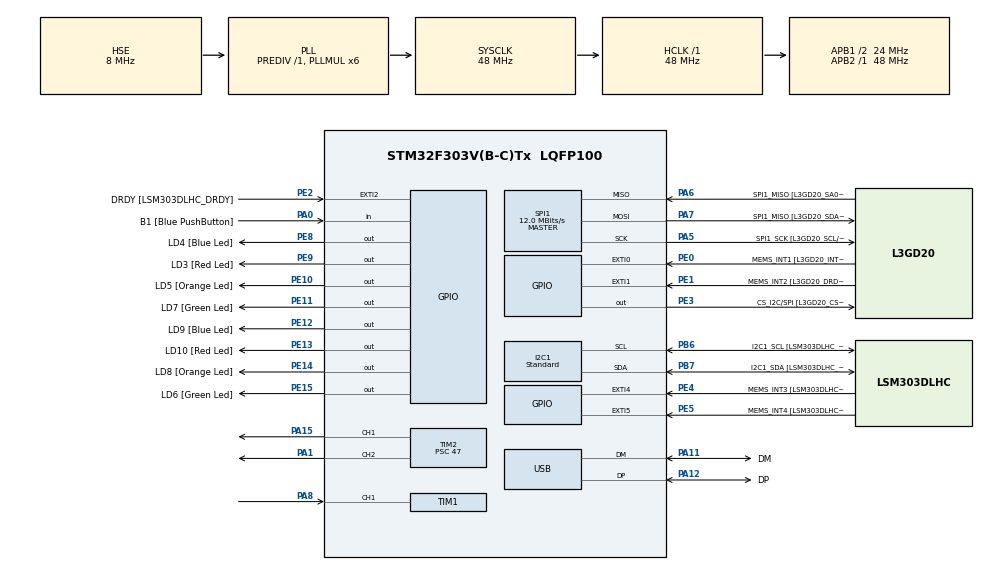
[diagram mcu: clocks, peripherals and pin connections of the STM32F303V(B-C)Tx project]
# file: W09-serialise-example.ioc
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I2C1.I2C_Speed_Mode=I2C_Standard
I2C1.Speed=100
I2C1.Timing-I2C=0x2000090E
Mcu.Family=STM32F3
Mcu.Name=STM32F303V(B-C)Tx
Mcu.Package=LQFP100
NVIC.PriorityGroup=NVIC_PRIORITYGROUP_0
NVIC.TIM1_CC_IRQn=true\:0\:0\:false\:false\:true\:true\:true\:true
NVIC.TIM2_IRQn=true\:0\:0\:false\:false\:true\:true\:true\:true
PA0.GPIO_Label=B1 [Blue PushButton]
PA0.Signal=GPIO_Input
PA1.Signal=S_TIM2_CH2
PA11.GPIO_Label=DM
PA11.Mode=Device
PA11.Signal=USB_DM
PA12.GPIO_Label=DP
PA12.Mode=Device
PA12.Signal=USB_DP
PA13.GPIO_Label=SWDIO
PA13.Mode=Serial_Wire
PA13.Signal=SYS_JTMS-SWDIO
PA14.GPIO_Label=SWCLK
PA14.Mode=Serial_Wire
PA14.Signal=SYS_JTCK-SWCLK
PA15.Signal=S_TIM2_CH1_ETR
PA5.GPIO_Label=SPI1_SCK [L3GD20_SCL/SPC]
PA5.Mode=Full_Duplex_Master
PA5.Signal=SPI1_SCK
PA6.GPIO_Label=SPI1_MISO [L3GD20_SA0/SDO]
PA6.Mode=Full_Duplex_Master
PA6.Signal=SPI1_MISO
PA7.GPIO_Label=SPI1_MISO [L3GD20_SDA/SDI/SDO]
PA7.Mode=Full_Duplex_Master
PA7.Signal=SPI1_MOSI
PA8.Signal=S_TIM1_CH1
PB3.GPIO_Label=SWO
PB3.Signal=SYS_JTDO-TRACESWO
PB6.GPIO_Label=I2C1_SCL [LSM303DLHC_SCL]
PB6.GPIO_Pu=GPIO_PULLUP
PB6.Mode=I2C
PB6.Signal=I2C1_SCL
PB7.GPIO_Label=I2C1_SDA [LSM303DLHC_SDA]
PB7.GPIO_Pu=GPIO_PULLUP
PB7.Mode=I2C
PB7.Signal=I2C1_SDA
PC14-OSC32_IN.GPIO_Label=OSC32_IN
PC14-OSC32_IN.Signal=RCC_OSC32_IN
PC15-OSC32_OUT.GPIO_Label=OSC32_OUT
PC15-OSC32_OUT.Signal=RCC_OSC32_OUT
PE0.GPIO_Label=MEMS_INT1 [L3GD20_INT1]
PE0.GPIO_ModeDefaultEXTI=GPIO_MODE_EVT_RISING
PE0.Signal=GPXTI0
PE1.GPIO_Label=MEMS_INT2 [L3GD20_DRDY/INT2]
PE1.GPIO_ModeDefaultEXTI=GPIO_MODE_EVT_RISING
PE1.Signal=GPXTI1
PE10.GPIO_Label=LD5 [Orange Led]
PE10.Signal=GPIO_Output
PE11.GPIO_Label=LD7 [Green Led]
PE11.Signal=GPIO_Output
PE12.GPIO_Label=LD9 [Blue Led]
PE12.Signal=GPIO_Output
PE13.GPIO_Label=LD10 [Red Led]
PE13.Signal=GPIO_Output
PE14.GPIO_Label=LD8 [Orange Led]
PE14.Signal=GPIO_Output
PE15.GPIO_Label=LD6 [Green Led]
PE15.Signal=GPIO_Output
PE2.GPIO_Label=DRDY [LSM303DLHC_DRDY]
PE2.GPIO_ModeDefaultEXTI=GPIO_MODE_EVT_RISING
PE2.Signal=GPXTI2
PE3.GPIO_Label=CS_I2C/SPI [L3GD20_CS_I2C/SPI]
PE3.Signal=GPIO_Output
PE4.GPIO_Label=MEMS_INT3 [LSM303DLHC_INT1]
PE4.GPIO_ModeDefaultEXTI=GPIO_MODE_EVT_RISING
PE4.Signal=GPXTI4
PE5.GPIO_Label=MEMS_INT4 [LSM303DLHC_INT2]
PE5.GPIO_ModeDefaultEXTI=GPIO_MODE_EVT_RISING
PE5.Signal=GPXTI5
PE8.GPIO_Label=LD4 [Blue Led]
PE8.Signal=GPIO_Output
PE9.GPIO_Label=LD3 [Red Led]
PE9.Signal=GPIO_Output
PF0-OSC_IN.GPIO_Label=OSC_IN
PF0-OSC_IN.Mode=HSE-External-Clock-Source
PF0-OSC_IN.Signal=RCC_OSC_IN
PF1-OSC_OUT.GPIO_Label=OSC_OUT
PF1-OSC_OUT.Signal=RCC_OSC_OUT
ProjectManager.HeapSize=0x200
ProjectManager.StackSize=0x400
ProjectManager.TargetToolchain=STM32CubeIDE
RCC.AHBFreq_Value=48000000
RCC.APB1CLKDivider=RCC_HCLK_DIV2
RCC.APB1Freq_Value=24000000
RCC.APB1TimFreq_Value=48000000
RCC.APB2Freq_Value=48000000
RCC.APB2TimFreq_Value=48000000
RCC.CortexFreq_Value=48000000
RCC.HCLKFreq_Value=48000000
RCC.HSE_VALUE=8000000
RCC.HSI_VALUE=8000000
RCC.LSE_VALUE=32768
RCC.PLLMUL=RCC_PLL_MUL6
RCC.SYSCLKFreq_VALUE=48000000
RCC.SYSCLKSourceVirtual=RCC_SYSCLKSOURCE_PLLCLK
RCC.USBFreq_Value=48000000
SH.S_TIM1_CH1.0=TIM1_CH1,Input_Capture1_from_TI1
SH.S_TIM2_CH1_ETR.0=TIM2_CH1,PWM Generation1 CH1
SH.S_TIM2_CH2.0=TIM2_CH2,PWM Generation2 CH2
SPI1.BaudRatePrescaler=SPI_BAUDRATEPRESCALER_4
SPI1.BaudRatePrescaler-Full_Duplex_Master=SPI_BAUDRATEPRESCALER_2
SPI1.CalculateBaudRate=12.0 MBits/s
SPI1.CalculateBaudRate-Full_Duplex_Master=24.0 MBits/s
SPI1.Direction=SPI_DIRECTION_2LINES
SPI1.Mode=SPI_MODE_MASTER
SPI1.Mode-Full_Duplex_Master=SPI_MODE_MASTER
SPI1.VirtualType=VM_MASTER
TIM1.Channel-Input_Capture1_from_TI1=TIM_CHANNEL_1
TIM1.ICPolarity_CH1=TIM_INPUTCHANNELPOLARITY_BOTHEDGE
TIM1.Prescaler=47
TIM2.AutoReloadPreload=TIM_AUTORELOAD_PRELOAD_ENABLE
TIM2.Channel-PWM\ Generation1\ CH1=TIM_CHANNEL_1
TIM2.Channel-PWM\ Generation2\ CH2=TIM_CHANNEL_2
TIM2.Period=20000
TIM2.Prescaler=47
TIM2.Pulse-PWM\ Generation1\ CH1=2000
TIM2.Pulse-PWM\ Generation2\ CH2=2000
VP_TIM1_VS_ClockSourceINT.Mode=Internal
board=STM32F3DISCOVERY

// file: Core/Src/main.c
/* USER CODE BEGIN Header */
/**
 ******************************************************************************
 * @file           : main.c
 * @brief          : Main program body
 ******************************************************************************
 * @attention
 *
 * Copyright (c) 2023 STMicroelectronics.
 * All rights reserved.
 *
 * This software is licensed under terms that can be found in the LICENSE file
 * in the root directory of this software component.
 * If no LICENSE file comes with this software, it is provided AS-IS.
 *
 ******************************************************************************
 */
/* USER CODE END Header */
#include "main.h"

/* USER CODE BEGIN Includes */

#include "ptu_definitions.h"
#include "ptu_i2c.h"
#include "serial.h"
#include "serialise.h"

#include "math.h"

/* USER CODE END Includes */

I2C_HandleTypeDef hi2c1;

SPI_HandleTypeDef hspi1;

TIM_HandleTypeDef htim1;
TIM_HandleTypeDef htim2;

PCD_HandleTypeDef hpcd_USB_FS;

void SystemClock_Config(void);
static void MX_GPIO_Init(void);
static void MX_I2C1_Init(void);
static void MX_SPI1_Init(void);
static void MX_USB_PCD_Init(void);
static void MX_TIM2_Init(void);
static void MX_TIM1_Init(void);

/* USER CODE BEGIN 0 */

// enable the clocks for desired peripherals (GPIOA, C and E)
void enable_clocks() {
	RCC->AHBENR |= RCC_AHBENR_GPIOAEN | RCC_AHBENR_GPIOCEN | RCC_AHBENR_GPIOEEN;
}

// initialise the discovery board I/O (just outputs: inputs are selected by default)
void initialise_board() {
	// get a pointer to the second half word of the MODER register (for outputs pe8-15)
	uint16_t *led_output_registers = ((uint16_t *)&(GPIOE->MODER)) + 1;
	*led_output_registers = 0x5555;
}

typedef union {
	uint8_t all_leds;
	struct {
		uint8_t led_pair_1 : 2;
		uint8_t led_pair_2 : 2;
		uint8_t led_set_of_4 : 4;
	} led_groups;
} LedRegister;

uint16_t last_capture = 0;
uint16_t diff = 0;

uint16_t rise_time = 0;
uint16_t last_period = 0;

void HAL_TIM_IC_CaptureCallback(TIM_HandleTypeDef *htim)
{
	uint8_t buffer[32];
	if (htim->Instance == TIM1 && htim->Channel == HAL_TIM_ACTIVE_CHANNEL_1)
	{
		uint16_t IC_Val1 = HAL_TIM_ReadCapturedValue(htim, TIM_CHANNEL_1); // read the first value

		if (HAL_GPIO_ReadPin(GPIOA, GPIO_PIN_8) == 1)
			rise_time = IC_Val1;
		else
			last_period = IC_Val1 - rise_time;

		diff = IC_Val1 - last_capture;
		last_capture = IC_Val1;
	}
}

typedef struct {
	uint8_t var1;
	uint32_t var2;
	uint8_t var3;
	uint32_t var4;
	uint8_t var5;
	uint8_t var6;
} struct_1;

typedef struct {
	uint32_t var2;
	uint32_t var4;
	uint8_t var1;
	uint8_t var3;
	uint8_t var5;
	uint8_t var6;
} struct_2;

/* USER CODE END 0 */

int main(void)
{
	/* USER CODE BEGIN 1 */

	// PTU Pin wiring
	//  2 x grounds between stm32 and PTU
	//  PA1 and PA15 are TIM2 channels 1 and 2. These are used to drive
	//    the PWM for the PTU
	//  PA8 is TIM1 channel 1, this is used for the LASPWM (the laser PWM signal)
	//  PB6 is I2C1 clock (SCL on the PTU), PB7 is I2C1 data (SDA on the PTU)

	// look at the size difference between these structs,
	//  they are because the 32 bit microcontroller
	//  packs the data so the divisions are in groups
	//  of 4bytes (4bytes=32bit)
	uint8_t size_1 = sizeof(struct_1);
	uint8_t size_2 = sizeof(struct_2);

	uint8_t string_to_send[64] = "This is a string !\r\n";

	enable_clocks();
	initialise_board();

	LedRegister *led_register = ((uint8_t*)&(GPIOE->ODR)) + 1;

	SerialInitialise(BAUD_115200, &USART1_PORT, 0x00);

	HAL_StatusTypeDef return_value = 0x00;

	volatile uint16_t vertical_PWM = 1000;
	volatile uint16_t horizontal_PWM = 1000;

	/* USER CODE END 1 */

	/* MCU Configuration--------------------------------------------------------*/

	/* Reset of all peripherals, Initializes the Flash interface and the Systick. */
	HAL_Init();

	/* Configure the system clock */
	SystemClock_Config();

	/* Initialize all configured peripherals */
	MX_GPIO_Init();
	MX_I2C1_Init();
	MX_SPI1_Init();
	MX_USB_PCD_Init();
	MX_TIM2_Init();
	MX_TIM1_Init();
	/* USER CODE BEGIN 2 */

	HAL_TIM_PWM_Start(&htim2, TIM_CHANNEL_1);
	HAL_TIM_PWM_Start(&htim2, TIM_CHANNEL_2);

	HAL_TIM_IC_Start_IT(&htim1, TIM_CHANNEL_1);

	// TIM 2 is setup with a prescaler that makes 1 count = 1 microsecond
	// Even with HAL, you can still set the values yourself
	TIM2->ARR = 20000; // 20000 = 20ms, which is the desired clock period for servos
	TIM2->CR1 |= TIM_CR1_ARPE; // this makes the timing not change until the next pulse is finished

	// note: for PWM if you continually change the clock period
	// you can get unexpected results. To remove this, set ARPE so that the
	// ARR settings are not activated until the next cycle.

	initialise_ptu_i2c(&hi2c1);

	/* USER CODE END 2 */

	/* Infinite loop */
	/* USER CODE BEGIN WHILE */

	// reset lidar board
	uint8_t reset_value = 0x00;
	return_value = HAL_I2C_Mem_Write(&hi2c1, LIDAR_WR, 0x00, 1, &reset_value, 1, 10);

	uint8_t PWM_direction_clockwise = 1;

	// delay for initialisation of the lidar
	HAL_Delay(100);

	while (1)
	{

		if (PWM_direction_clockwise == 1) {
			vertical_PWM += 3;
			horizontal_PWM += 3;
		}
		else {
			vertical_PWM -= 3;
			horizontal_PWM -= 3;
		}

		if (vertical_PWM > 1900) {
			vertical_PWM = 1900;
			PWM_direction_clockwise = 0;
		}
		if (vertical_PWM < 1200) {
			vertical_PWM = 1200;
			PWM_direction_clockwise = 1;
		}

		TIM2->CCR1 = vertical_PWM;
		TIM2->CCR2 = horizontal_PWM;

		uint8_t xMSB = 0x00;
		HAL_I2C_Mem_Read(&hi2c1,gyro_rd, 0x29, 1, &xMSB, 1, 10);
		uint8_t xLSB = 0x00;
		HAL_I2C_Mem_Read(&hi2c1,gyro_rd, 0x28, 1, &xLSB, 1, 10);
		int16_t yaw_rate = ((xMSB << 8) | xLSB);

		uint8_t yMSB = 0x00;
		HAL_I2C_Mem_Read(&hi2c1,gyro_rd, 0x2B, 1, &yMSB, 1, 10);
		uint8_t yLSB = 0x00;
		HAL_I2C_Mem_Read(&hi2c1,gyro_rd, 0x2A, 1, &yLSB, 1, 10);
		int16_t pitch_rate = ((yMSB << 8) | yLSB);

		uint8_t zMSB = 0x00;
		HAL_I2C_Mem_Read(&hi2c1,gyro_rd, 0x2D, 1, &zMSB, 1, 10);
		uint8_t zLSB = 0x00;
		HAL_I2C_Mem_Read(&hi2c1,gyro_rd, 0x2C, 1, &zLSB, 1, 10);
		int16_t roll_rate = ((zMSB << 8) | zLSB);

		// This is turned off as the LED state is set from the serial input
		/*
		if (pitch_rate < 0)
			led_register->led_groups.led_pair_1 = 0b01;
		else
			led_register->led_groups.led_pair_1 = 0b10;

		if (yaw_rate < 0)
			led_register->led_groups.led_pair_2 = 1;
		else
			led_register->led_groups.led_pair_2 = 2;
		 */

		uint8_t lidar_value = 0x03;
		return_value = HAL_I2C_Mem_Write(&hi2c1, LIDAR_WR, 0x00, 1, &lidar_value, 1, 100);

		lidar_value = 0xff;

		uint8_t lidar_MSBa = 0x00;
		uint8_t lidar_LSBa = 0x00;

		volatile uint16_t lidar_distance = 0xff;

		uint16_t timeout;

		while ((lidar_value & 0x01) != 0x00) {
			return_value = HAL_I2C_Mem_Read(&hi2c1, LIDAR_RD, 0x01, 1, &lidar_value, 1, 100);

			return_value = HAL_I2C_Mem_Read(&hi2c1, LIDAR_RD, 0x0f, 1, &lidar_MSBa, 1, 100);
			return_value = HAL_I2C_Mem_Read(&hi2c1, LIDAR_RD, 0x10, 1, &lidar_LSBa, 1, 100);

			lidar_distance = ((lidar_MSBa << 8) | lidar_LSBa);
			timeout += 1;
			if (timeout > 0xff)
				break;
		}

		uint8_t lidar_ranges = lidar_distance / (100/4); // 100cm broken into 4 groups
		if (lidar_ranges > 3)
			lidar_ranges = 3;

		// This is turned off as the LED state is set from the serial input
		/*
		uint8_t led_values = pow(2, lidar_ranges);

		//led_register->led_groups.led_set_of_4 = led_values;
		*/

		if (last_period > 4000)
			last_period = 5000;
		if (lidar_distance > 4000)
			lidar_distance = 5500;

		// Serial string turned off as the data is being sent now through the serialiser
		//sprintf(string_to_send, "%hu,%hu,%hd,%hd,%hd\r\n", last_period, lidar_distance*10, roll_rate, pitch_rate, yaw_rate);
		//SerialOutputString(string_to_send, &USART1_PORT);

		// Construct a button data packet and send over serial
		Data button_data;
		uint8_t button_data_packet_buffer[6 + sizeof(ButtonAndStatus)] = {0}; // Header + SensorData
		button_data.button_and_status.button_state = GPIOA->IDR & 0x01;

		uint16_t button_data_buffer_length = pack_buffer(button_data_packet_buffer, BUTTON_AND_STATUS, &button_data);
		SerialOutputBuffer(button_data_packet_buffer, button_data_buffer_length, &USART1_PORT); // Send the buffer over serial

		// Construct a sensor data packet and send over serial
		Data sensor_data;
		uint8_t sensor_data_packet_buffer[6 + sizeof(SensorData)] = {0}; // Header + SensorData

		// Fill sensor_data.sensor_data with your actual sensor readings
		sensor_data.sensor_data.acc_x = 12345;
		sensor_data.sensor_data.acc_y = 23456;
		sensor_data.sensor_data.acc_z = 34567;
		sensor_data.sensor_data.gyro_x = roll_rate;
		sensor_data.sensor_data.gyro_y = pitch_rate;
		sensor_data.sensor_data.gyro_z = yaw_rate;
		sensor_data.sensor_data.lidar_pwm = last_period;
		sensor_data.sensor_data.lidar_i2c = lidar_distance*10;

		uint16_t sensor_data_buffer_length = pack_buffer(sensor_data_packet_buffer, SENSOR_DATA, &sensor_data);
		SerialOutputBuffer(sensor_data_packet_buffer, sensor_data_buffer_length, &USART1_PORT); // Send the buffer over serial

		// Read a data packet from serial that has the LED state
		uint8_t data_packet_input_buffer[32] = {0};
		uint16_t data_packet_size = SerialInputPacketHeader(data_packet_input_buffer, &USART1_PORT);

		// copy the data to a header structure
		Header incoming_header = {0};
		memcpy(&incoming_header, data_packet_input_buffer, sizeof(Header));

		if (incoming_header.message_type == LED_STATE) {
			LEDState desired_led_state = {0};
			uint8_t success = SerialInputDataPacket(&desired_led_state, sizeof(desired_led_state), &USART1_PORT);

			if (success > 0) {
				//uint8_t tmp = desired_led_state.led_byte;
				led_register->all_leds = desired_led_state.led_byte;
			}
		}

		/* USER CODE END WHILE */

	}
}

void SystemClock_Config(void)
{
	RCC_OscInitTypeDef RCC_OscInitStruct = {0};
	RCC_ClkInitTypeDef RCC_ClkInitStruct = {0};
	RCC_PeriphCLKInitTypeDef PeriphClkInit = {0};

	/** Initializes the RCC Oscillators according to the specified parameters
	 * in the RCC_OscInitTypeDef structure.
	 */
	RCC_OscInitStruct.OscillatorType = RCC_OSCILLATORTYPE_HSI|RCC_OSCILLATORTYPE_HSE;
	RCC_OscInitStruct.HSEState = RCC_HSE_BYPASS;
	RCC_OscInitStruct.HSEPredivValue = RCC_HSE_PREDIV_DIV1;
	RCC_OscInitStruct.HSIState = RCC_HSI_ON;
	RCC_OscInitStruct.HSICalibrationValue = RCC_HSICALIBRATION_DEFAULT;
	RCC_OscInitStruct.PLL.PLLState = RCC_PLL_ON;
	RCC_OscInitStruct.PLL.PLLSource = RCC_PLLSOURCE_HSE;
	RCC_OscInitStruct.PLL.PLLMUL = RCC_PLL_MUL6;
	if (HAL_RCC_OscConfig(&RCC_OscInitStruct) != HAL_OK)
	{
		Error_Handler();
	}

	/** Initializes the CPU, AHB and APB buses clocks
	 */
	RCC_ClkInitStruct.ClockType = RCC_CLOCKTYPE_HCLK|RCC_CLOCKTYPE_SYSCLK
			|RCC_CLOCKTYPE_PCLK1|RCC_CLOCKTYPE_PCLK2;
	RCC_ClkInitStruct.SYSCLKSource = RCC_SYSCLKSOURCE_PLLCLK;
	RCC_ClkInitStruct.AHBCLKDivider = RCC_SYSCLK_DIV1;
	RCC_ClkInitStruct.APB1CLKDivider = RCC_HCLK_DIV2;
	RCC_ClkInitStruct.APB2CLKDivider = RCC_HCLK_DIV1;

	if (HAL_RCC_ClockConfig(&RCC_ClkInitStruct, FLASH_LATENCY_1) != HAL_OK)
	{
		Error_Handler();
	}
	PeriphClkInit.PeriphClockSelection = RCC_PERIPHCLK_USB|RCC_PERIPHCLK_I2C1
			|RCC_PERIPHCLK_TIM1;
	PeriphClkInit.I2c1ClockSelection = RCC_I2C1CLKSOURCE_HSI;
	PeriphClkInit.USBClockSelection = RCC_USBCLKSOURCE_PLL;
	PeriphClkInit.Tim1ClockSelection = RCC_TIM1CLK_HCLK;
	if (HAL_RCCEx_PeriphCLKConfig(&PeriphClkInit) != HAL_OK)
	{
		Error_Handler();
	}
}

static void MX_I2C1_Init(void)
{

	hi2c1.Instance = I2C1;
	hi2c1.Init.Timing = 0x2000090E;
	hi2c1.Init.OwnAddress1 = 0;
	hi2c1.Init.AddressingMode = I2C_ADDRESSINGMODE_7BIT;
	hi2c1.Init.DualAddressMode = I2C_DUALADDRESS_DISABLE;
	hi2c1.Init.OwnAddress2 = 0;
	hi2c1.Init.OwnAddress2Masks = I2C_OA2_NOMASK;
	hi2c1.Init.GeneralCallMode = I2C_GENERALCALL_DISABLE;
	hi2c1.Init.NoStretchMode = I2C_NOSTRETCH_DISABLE;
	if (HAL_I2C_Init(&hi2c1) != HAL_OK)
	{
		Error_Handler();
	}

	/** Configure Analogue filter
	 */
	if (HAL_I2CEx_ConfigAnalogFilter(&hi2c1, I2C_ANALOGFILTER_ENABLE) != HAL_OK)
	{
		Error_Handler();
	}

	/** Configure Digital filter
	 */
	if (HAL_I2CEx_ConfigDigitalFilter(&hi2c1, 0) != HAL_OK)
	{
		Error_Handler();
	}

}

static void MX_SPI1_Init(void)
{

	/* SPI1 parameter configuration*/
	hspi1.Instance = SPI1;
	hspi1.Init.Mode = SPI_MODE_MASTER;
	hspi1.Init.Direction = SPI_DIRECTION_2LINES;
	hspi1.Init.DataSize = SPI_DATASIZE_4BIT;
	hspi1.Init.CLKPolarity = SPI_POLARITY_LOW;
	hspi1.Init.CLKPhase = SPI_PHASE_1EDGE;
	hspi1.Init.NSS = SPI_NSS_SOFT;
	hspi1.Init.BaudRatePrescaler = SPI_BAUDRATEPRESCALER_4;
	hspi1.Init.FirstBit = SPI_FIRSTBIT_MSB;
	hspi1.Init.TIMode = SPI_TIMODE_DISABLE;
	hspi1.Init.CRCCalculation = SPI_CRCCALCULATION_DISABLE;
	hspi1.Init.CRCPolynomial = 7;
	hspi1.Init.CRCLength = SPI_CRC_LENGTH_DATASIZE;
	hspi1.Init.NSSPMode = SPI_NSS_PULSE_ENABLE;
	if (HAL_SPI_Init(&hspi1) != HAL_OK)
	{
		Error_Handler();
	}

}

static void MX_TIM1_Init(void)
{

	TIM_ClockConfigTypeDef sClockSourceConfig = {0};
	TIM_MasterConfigTypeDef sMasterConfig = {0};
	TIM_IC_InitTypeDef sConfigIC = {0};

	htim1.Instance = TIM1;
	htim1.Init.Prescaler = 47;
	htim1.Init.CounterMode = TIM_COUNTERMODE_UP;
	htim1.Init.Period = 65535;
	htim1.Init.ClockDivision = TIM_CLOCKDIVISION_DIV1;
	htim1.Init.RepetitionCounter = 0;
	htim1.Init.AutoReloadPreload = TIM_AUTORELOAD_PRELOAD_DISABLE;
	if (HAL_TIM_Base_Init(&htim1) != HAL_OK)
	{
		Error_Handler();
	}
	sClockSourceConfig.ClockSource = TIM_CLOCKSOURCE_INTERNAL;
	if (HAL_TIM_ConfigClockSource(&htim1, &sClockSourceConfig) != HAL_OK)
	{
		Error_Handler();
	}
	if (HAL_TIM_IC_Init(&htim1) != HAL_OK)
	{
		Error_Handler();
	}
	sMasterConfig.MasterOutputTrigger = TIM_TRGO_RESET;
	sMasterConfig.MasterOutputTrigger2 = TIM_TRGO2_RESET;
	sMasterConfig.MasterSlaveMode = TIM_MASTERSLAVEMODE_DISABLE;
	if (HAL_TIMEx_MasterConfigSynchronization(&htim1, &sMasterConfig) != HAL_OK)
	{
		Error_Handler();
	}
	sConfigIC.ICPolarity = TIM_INPUTCHANNELPOLARITY_BOTHEDGE;
	sConfigIC.ICSelection = TIM_ICSELECTION_DIRECTTI;
	sConfigIC.ICPrescaler = TIM_ICPSC_DIV1;
	sConfigIC.ICFilter = 0;
	if (HAL_TIM_IC_ConfigChannel(&htim1, &sConfigIC, TIM_CHANNEL_1) != HAL_OK)
	{
		Error_Handler();
	}

}

static void MX_TIM2_Init(void)
{

	TIM_MasterConfigTypeDef sMasterConfig = {0};
	TIM_OC_InitTypeDef sConfigOC = {0};

	htim2.Instance = TIM2;
	htim2.Init.Prescaler = 47;
	htim2.Init.CounterMode = TIM_COUNTERMODE_UP;
	htim2.Init.Period = 20000;
	htim2.Init.ClockDivision = TIM_CLOCKDIVISION_DIV1;
	htim2.Init.AutoReloadPreload = TIM_AUTORELOAD_PRELOAD_ENABLE;
	if (HAL_TIM_PWM_Init(&htim2) != HAL_OK)
	{
		Error_Handler();
	}
	sMasterConfig.MasterOutputTrigger = TIM_TRGO_RESET;
	sMasterConfig.MasterSlaveMode = TIM_MASTERSLAVEMODE_DISABLE;
	if (HAL_TIMEx_MasterConfigSynchronization(&htim2, &sMasterConfig) != HAL_OK)
	{
		Error_Handler();
	}
	sConfigOC.OCMode = TIM_OCMODE_PWM1;
	sConfigOC.Pulse = 2000;
	sConfigOC.OCPolarity = TIM_OCPOLARITY_HIGH;
	sConfigOC.OCFastMode = TIM_OCFAST_DISABLE;
	if (HAL_TIM_PWM_ConfigChannel(&htim2, &sConfigOC, TIM_CHANNEL_1) != HAL_OK)
	{
		Error_Handler();
	}
	if (HAL_TIM_PWM_ConfigChannel(&htim2, &sConfigOC, TIM_CHANNEL_2) != HAL_OK)
	{
		Error_Handler();
	}
	HAL_TIM_MspPostInit(&htim2);

}

static void MX_USB_PCD_Init(void)
{

	hpcd_USB_FS.Instance = USB;
	hpcd_USB_FS.Init.dev_endpoints = 8;
	hpcd_USB_FS.Init.speed = PCD_SPEED_FULL;
	hpcd_USB_FS.Init.phy_itface = PCD_PHY_EMBEDDED;
	hpcd_USB_FS.Init.low_power_enable = DISABLE;
	hpcd_USB_FS.Init.battery_charging_enable = DISABLE;
	if (HAL_PCD_Init(&hpcd_USB_FS) != HAL_OK)
	{
		Error_Handler();
	}

}

static void MX_GPIO_Init(void)
{
	GPIO_InitTypeDef GPIO_InitStruct = {0};

	/* GPIO Ports Clock Enable */
	__HAL_RCC_GPIOE_CLK_ENABLE();
	__HAL_RCC_GPIOC_CLK_ENABLE();
	__HAL_RCC_GPIOF_CLK_ENABLE();
	__HAL_RCC_GPIOA_CLK_ENABLE();
	__HAL_RCC_GPIOB_CLK_ENABLE();

	/*Configure GPIO pin Output Level */
	HAL_GPIO_WritePin(GPIOE, CS_I2C_SPI_Pin|LD4_Pin|LD3_Pin|LD5_Pin
			|LD7_Pin|LD9_Pin|LD10_Pin|LD8_Pin
			|LD6_Pin, GPIO_PIN_RESET);

	/*Configure GPIO pins : DRDY_Pin MEMS_INT3_Pin MEMS_INT4_Pin MEMS_INT1_Pin
                           MEMS_INT2_Pin */
	GPIO_InitStruct.Pin = DRDY_Pin|MEMS_INT3_Pin|MEMS_INT4_Pin|MEMS_INT1_Pin
			|MEMS_INT2_Pin;
	GPIO_InitStruct.Mode = GPIO_MODE_EVT_RISING;
	GPIO_InitStruct.Pull = GPIO_NOPULL;
	HAL_GPIO_Init(GPIOE, &GPIO_InitStruct);

	/*Configure GPIO pins : CS_I2C_SPI_Pin LD4_Pin LD3_Pin LD5_Pin
                           LD7_Pin LD9_Pin LD10_Pin LD8_Pin
                           LD6_Pin */
	GPIO_InitStruct.Pin = CS_I2C_SPI_Pin|LD4_Pin|LD3_Pin|LD5_Pin
			|LD7_Pin|LD9_Pin|LD10_Pin|LD8_Pin
			|LD6_Pin;
	GPIO_InitStruct.Mode = GPIO_MODE_OUTPUT_PP;
	GPIO_InitStruct.Pull = GPIO_NOPULL;
	GPIO_InitStruct.Speed = GPIO_SPEED_FREQ_LOW;
	HAL_GPIO_Init(GPIOE, &GPIO_InitStruct);

	/*Configure GPIO pin : B1_Pin */
	GPIO_InitStruct.Pin = B1_Pin;
	GPIO_InitStruct.Mode = GPIO_MODE_INPUT;
	GPIO_InitStruct.Pull = GPIO_NOPULL;
	HAL_GPIO_Init(B1_GPIO_Port, &GPIO_InitStruct);

}

void Error_Handler(void)
{
	__disable_irq();
	while (1)
	{
	}
}
